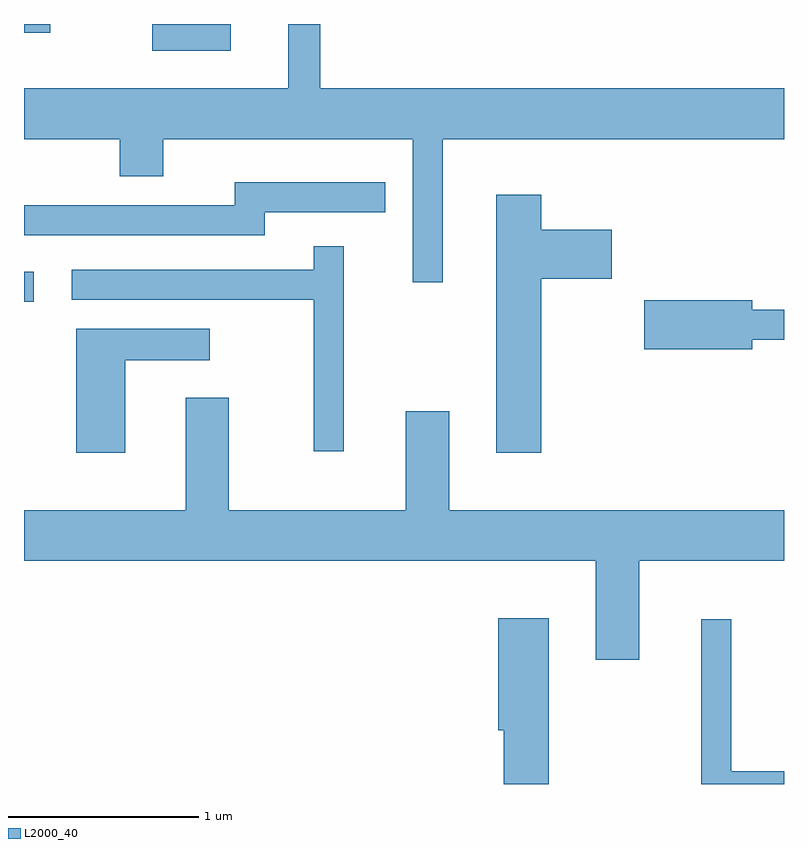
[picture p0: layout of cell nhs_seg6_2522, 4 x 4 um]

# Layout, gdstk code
import gdstk
lib = gdstk.Library(unit=1e-6, precision=1e-09)
def R(c, l, rs):  # rectangles x0, y0, x1, y1
    for r in rs: c.add(gdstk.rectangle(r[:2], r[2:], *l))
def P(c, l, *ps):  # polygons
    for p in ps: c.add(gdstk.Polygon(p, *l))
L2000_40 = (2000, 40)

nhs_seg6_2522 = lib.new_cell('nhs_seg6_2522')
R(nhs_seg6_2522, L2000_40, [(261.611,1584.701,261.663,1584.859), (262.286,1586.021,262.699,1586.162), (261.611,1586.116,261.749,1586.162)])
P(nhs_seg6_2522, L2000_40, [(263.814,1585.556),(265.611,1585.556),(265.611,1585.824),(263.169,1585.824),(263.169,1586.162),(263.001,1586.162),(263.001,1585.824),(261.611,1585.824),(261.611,1585.556),(262.116,1585.556),(262.116,1585.361),(262.344,1585.361),(262.344,1585.556),(263.656,1585.556),(263.656,1584.803),(263.814,1584.803)],
  [(262.879,1585.171),(263.513,1585.171),(263.513,1585.329),(262.721,1585.329),(262.721,1585.209),(261.611,1585.209),(261.611,1585.051),(262.879,1585.051)],
  [(264.334,1584.821),(264.704,1584.821),(264.704,1585.079),(264.334,1585.079),(264.334,1585.264),(264.096,1585.264),(264.096,1583.906),(264.334,1583.906)],
  [(263.294,1584.993),(263.136,1584.993),(263.136,1584.869),(261.863,1584.869),(261.863,1584.711),(263.136,1584.711),(263.136,1583.913),(263.294,1583.913)],
  [(265.444,1584.501),(265.611,1584.501),(265.611,1584.659),(265.444,1584.659),(265.444,1584.709),(264.876,1584.709),(264.876,1584.451),(265.444,1584.451)],
  [(262.144,1584.391),(262.588,1584.391),(262.588,1584.559),(261.886,1584.559),(261.886,1583.906),(262.144,1583.906)],
  [(264.621,1582.816),(264.849,1582.816),(264.849,1583.336),(265.611,1583.336),(265.611,1583.604),(263.849,1583.604),(263.849,1584.124),(263.621,1584.124),(263.621,1583.604),(262.689,1583.604),(262.689,1584.194),(262.461,1584.194),(262.461,1583.604),(261.611,1583.604),(261.611,1583.336),(264.621,1583.336)],
  [(264.374,1583.034),(264.106,1583.034),(264.106,1582.446),(264.136,1582.446),(264.136,1582.162),(264.374,1582.162)],
  [(265.611,1582.229),(265.334,1582.229),(265.334,1583.028),(265.176,1583.028),(265.176,1582.162),(265.611,1582.162)])

lib.write_gds('nhs_seg6_2522.gds')
